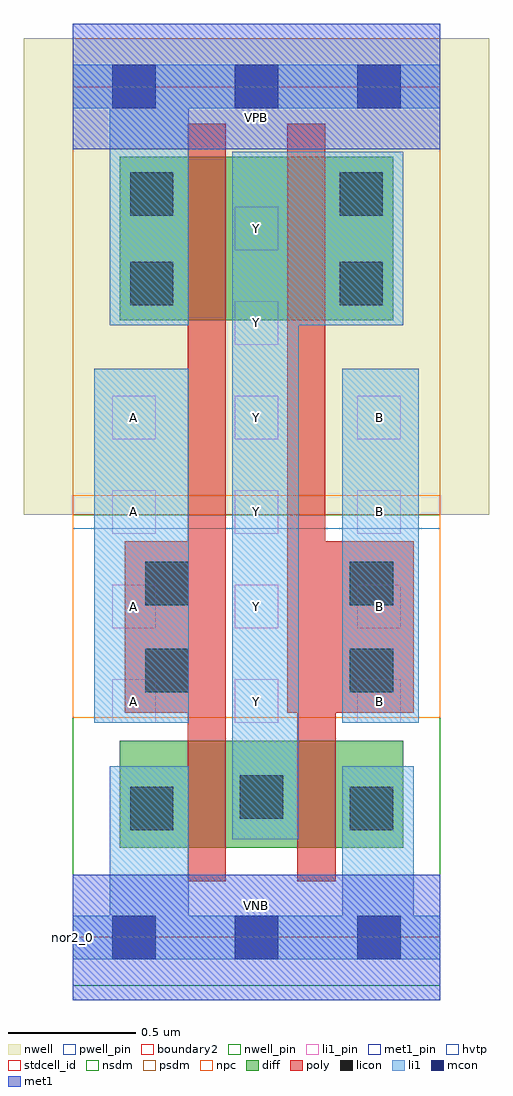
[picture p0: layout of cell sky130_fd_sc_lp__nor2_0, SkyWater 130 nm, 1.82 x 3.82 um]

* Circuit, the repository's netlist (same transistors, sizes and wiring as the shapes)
* Copyright 2020 The SkyWater PDK Authors
*
* Licensed under the Apache License, Version 2.0 (the "License");
* you may not use this file except in compliance with the License.
* You may obtain a copy of the License at
*
*     https://www.apache.org/licenses/LICENSE-2.0
*
* Unless required by applicable law or agreed to in writing, software
* distributed under the License is distributed on an "AS IS" BASIS,
* WITHOUT WARRANTIES OR CONDITIONS OF ANY KIND, either express or implied.
* See the License for the specific language governing permissions and
* limitations under the License.
*
* SPDX-License-Identifier: Apache-2.0

.SUBCKT sky130_fd_sc_lp__nor2_0 A B VGND VNB VPB VPWR Y
*.PININFO A:I B:I VGND:I VNB:I VPB:I VPWR:I Y:O
MMP0 VPWR A sndPA VPB sky130_fd_pr__pfet_01v8_hvt m=1 w=0.64U l=0.15U mult=1 sa=0.265
+ sb=0.265 sd=0.28 area=0.063 perim=1.14
MMP1 sndPA B Y VPB sky130_fd_pr__pfet_01v8_hvt m=1 w=0.64U l=0.15U mult=1 sa=0.265
+ sb=0.265 sd=0.28 area=0.063 perim=1.14
MMN0 Y A VGND VNB sky130_fd_pr__nfet_01v8 m=1 w=0.42U l=0.15U mult=1 sa=0.265 sb=0.265
+ sd=0.28 area=0.063 perim=1.14
MMN1 Y B VGND VNB sky130_fd_pr__nfet_01v8 m=1 w=0.42U l=0.15U mult=1 sa=0.265 sb=0.265
+ sd=0.28 area=0.063 perim=1.14
.ENDS sky130_fd_sc_lp__nor2_0

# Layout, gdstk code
import gdstk
lib = gdstk.Library(unit=1e-6, precision=1e-09)
def R(c, l, rs):  # rectangles x0, y0, x1, y1
    for r in rs: c.add(gdstk.rectangle(r[:2], r[2:], *l))
def A(c, l, x, y, w, h, nx, ny, dx, dy):  # array of equal rectangles
    R(c, l, [(x+i*dx, y+j*dy, x+i*dx+w, y+j*dy+h) for i in range(nx) for j in range(ny)])
def P(c, l, *ps):  # polygons
    for p in ps: c.add(gdstk.Polygon(p, *l))
nwell_pin = (64, 16)
nwell = (64, 20)
diff = (65, 20)
poly = (66, 20)
licon = (66, 44)
li1_pin = (67, 16)
li1 = (67, 20)
mcon = (67, 44)
met1_pin = (68, 16)
met1 = (68, 20)
hvtp = (78, 44)
stdcell_id = (81, 4)
nsdm = (93, 44)
psdm = (94, 20)
npc = (95, 20)
pwell_pin = (122, 16)
boundary2 = (236, 0)

sky130_fd_sc_lp__nor2_0 = lib.new_cell('sky130_fd_sc_lp__nor2_0')
R(sky130_fd_sc_lp__nor2_0, nwell_pin, [(0,3.085,1.44,3.33)])
R(sky130_fd_sc_lp__nor2_0, nwell, [(-0.19,1.655,1.63,3.52)])
R(sky130_fd_sc_lp__nor2_0, diff, [(0.185,0.35,1.295,0.77), (0.185,2.415,1.255,3.055)])
P(sky130_fd_sc_lp__nor2_0, poly, [(0.6,3.185),(0.45,3.185),(0.45,1.55),(0.205,1.55),(0.205,0.88),(0.45,0.88),(0.45,0.22),(0.6,0.22)],
  [(1.335,1.55),(0.99,1.55),(0.99,3.185),(0.84,3.185),(0.84,0.88),(0.88,0.88),(0.88,0.22),(1.03,0.22),(1.03,0.88),(1.335,0.88)])
R(sky130_fd_sc_lp__nor2_0, licon, [(0.225,0.42,0.395,0.59), (1.085,0.42,1.255,0.59), (0.655,0.465,0.825,0.635), (0.285,0.96,0.455,1.13), (1.085,0.96,1.255,1.13), (0.285,1.3,0.455,1.47), (1.085,1.3,1.255,1.47), (0.225,2.475,0.395,2.645), (1.045,2.475,1.215,2.645), (0.225,2.825,0.395,2.995), (1.045,2.825,1.215,2.995)])
A(sky130_fd_sc_lp__nor2_0, li1_pin, 0.155, 0.84, 0.17, 0.17, 3, 4, 0.48, 0.37)
R(sky130_fd_sc_lp__nor2_0, li1_pin, [(0.635,2.32,0.805,2.49), (0.635,2.69,0.805,2.86)])
R(sky130_fd_sc_lp__nor2_0, li1, [(0.085,0.84,0.455,2.225), (1.055,0.84,1.355,2.225)])
P(sky130_fd_sc_lp__nor2_0, li1, [(0.145,2.395),(0.145,3.245),(0,3.245),(0,3.415),(1.44,3.415),(1.44,3.245),(0.455,3.245),(0.455,2.395)],
  [(0.145,0.085),(0.145,0.67),(0.455,0.67),(0.455,0.085),(1.055,0.085),(1.055,0.67),(1.335,0.67),(1.335,0.085),(1.44,0.085),(1.44,-0.085),(0,-0.085),(0,0.085)],
  [(1.295,3.075),(1.295,2.395),(0.885,2.395),(0.885,0.385),(0.625,0.385),(0.625,3.075)])
A(sky130_fd_sc_lp__nor2_0, mcon, 0.155, -0.085, 0.17, 0.17, 3, 2, 0.48, 3.33)
R(sky130_fd_sc_lp__nor2_0, met1_pin, [(0,0,1.44,0.245), (0,3.085,1.44,3.33)])
R(sky130_fd_sc_lp__nor2_0, met1, [(0,-0.245,1.44,0.245), (0,3.085,1.44,3.575)])
R(sky130_fd_sc_lp__nor2_0, hvtp, [(0,1.6,1.44,3.33)])
R(sky130_fd_sc_lp__nor2_0, stdcell_id, [(0,0,1.44,3.33)])
R(sky130_fd_sc_lp__nor2_0, nsdm, [(0,-0.19,1.44,1.655)])
R(sky130_fd_sc_lp__nor2_0, psdm, [(0,1.655,1.44,3.52)])
R(sky130_fd_sc_lp__nor2_0, npc, [(0,0.86,1.44,1.73)])
R(sky130_fd_sc_lp__nor2_0, pwell_pin, [(0,0,1.44,0.245)])
R(sky130_fd_sc_lp__nor2_0, boundary2, [(0,0,1.44,3.33)])
sky130_fd_sc_lp__nor2_0.add(gdstk.Label('VNB', (0.72,0.123), layer=64, texttype=59))
sky130_fd_sc_lp__nor2_0.add(gdstk.Label('VPB', (0.72,3.208), layer=64, texttype=5))
sky130_fd_sc_lp__nor2_0.add(gdstk.Label('nor2_0', (0,0), layer=83, texttype=44))
sky130_fd_sc_lp__nor2_0.add(gdstk.Label('VPWR', (0.72,3.208), layer=68, texttype=5))
sky130_fd_sc_lp__nor2_0.add(gdstk.Label('VGND', (0.72,0.123), layer=68, texttype=5))
sky130_fd_sc_lp__nor2_0.add(gdstk.Label('A', (0.24,0.925), layer=67, texttype=5))
sky130_fd_sc_lp__nor2_0.add(gdstk.Label('A', (0.24,1.295), layer=67, texttype=5))
sky130_fd_sc_lp__nor2_0.add(gdstk.Label('A', (0.24,1.665), layer=67, texttype=5))
sky130_fd_sc_lp__nor2_0.add(gdstk.Label('A', (0.24,2.035), layer=67, texttype=5))
sky130_fd_sc_lp__nor2_0.add(gdstk.Label('Y', (0.72,0.925), layer=67, texttype=5))
sky130_fd_sc_lp__nor2_0.add(gdstk.Label('Y', (0.72,1.295), layer=67, texttype=5))
sky130_fd_sc_lp__nor2_0.add(gdstk.Label('Y', (0.72,1.665), layer=67, texttype=5))
sky130_fd_sc_lp__nor2_0.add(gdstk.Label('Y', (0.72,2.035), layer=67, texttype=5))
sky130_fd_sc_lp__nor2_0.add(gdstk.Label('Y', (0.72,2.405), layer=67, texttype=5))
sky130_fd_sc_lp__nor2_0.add(gdstk.Label('Y', (0.72,2.775), layer=67, texttype=5))
sky130_fd_sc_lp__nor2_0.add(gdstk.Label('B', (1.2,0.925), layer=67, texttype=5))
sky130_fd_sc_lp__nor2_0.add(gdstk.Label('B', (1.2,1.295), layer=67, texttype=5))
sky130_fd_sc_lp__nor2_0.add(gdstk.Label('B', (1.2,1.665), layer=67, texttype=5))
sky130_fd_sc_lp__nor2_0.add(gdstk.Label('B', (1.2,2.035), layer=67, texttype=5))

lib.write_gds('sky130_fd_sc_lp__nor2_0.gds')
